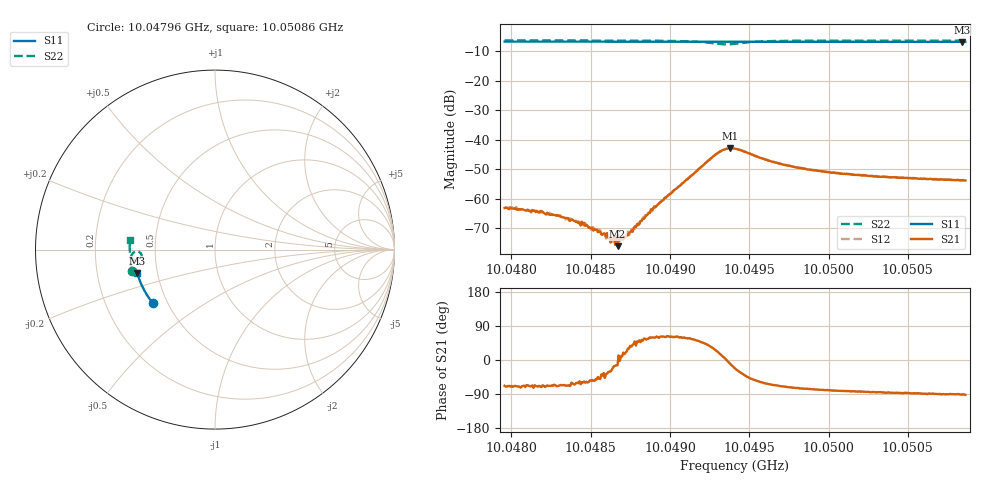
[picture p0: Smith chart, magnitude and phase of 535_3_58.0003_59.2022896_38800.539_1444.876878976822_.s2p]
#  HZ  S  RI  R  50.00
! Rohde & Schwarz Vector Network Analyzer
! Rohde-Schwarz,ZNB20-2Port,1311601062101988,3.16
! Created: UTC 3/21/2024, 1:14:16 AM
! freq[Hz]  re:S11  im:S11  re:S21  im:S21  re:S12  im:S12  re:S22  im:S22
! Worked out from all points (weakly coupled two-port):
!   401 points, 10.04796 GHz to 10.05086 GHz, reference 50 ohm
!   highest |S21| = -42.94 dB at 10.04938 GHz (marker M1); lowest = -76.1 dB at 10.04867 GHz (marker M2)
!   lowest |S11| = -6.9 dB at 10.05084 GHz (marker M3), VSWR 2.65, Z = 19.2 - j6.39 ohm
!   |S11| at or under -10 dB: nowhere
!   |S22| runs from -7.7 to -6.4 dB; largest |S21 - S12| = 0.00053
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1.0047958e10  -0.3459 -0.2989  0.000258 -0.000642  0.000273 -0.00066  -0.4622 -0.1213
1.0048176e10  -0.3548 -0.2877  0.000215 -0.000539  0.000265 -0.000529  -0.4655 -0.1063
1.0048256e10  -0.3581 -0.2835  0.000212 -0.000499  0.000256 -0.000473  -0.4664 -0.1008
1.0048336e10  -0.3612 -0.2791  0.000193 -0.000434  0.00021 -0.000402  -0.4674 -0.095
1.0048401e10  -0.3637 -0.2756  0.000179 -0.000375  0.000203 -0.000368  -0.4681 -0.0902
1.0048445e10  -0.3653 -0.2733  0.000214 -0.000346  0.000206 -0.000285  -0.4685 -0.087
1.0048546e10  -0.3691 -0.2678  0.000191 -0.000191  0.000208 -0.000207  -0.4693 -0.0793
1.0048633e10  -0.3724 -0.263  0.000184 -8.95e-05  0.00017 -6.8e-05  -0.4699 -0.0723
1.004867e10  -0.3737 -0.2611  0.000152 -3.78e-05  0.000205 -1.07e-05  -0.4701 -0.0693
1.0048699e10  -0.3746 -0.2594  0.0002 3.29e-05  0.000199 6.41e-05  -0.47 -0.0669
1.004875e10  -0.3766 -0.2566  0.000214 0.000163  0.000212 0.000146  -0.47 -0.0626
1.0048844e10  -0.3799 -0.2515  0.000271 0.000405  0.000263 0.000451  -0.47 -0.0541
1.0048931e10  -0.3828 -0.2463  0.00043 0.000701  0.000335 0.000761  -0.469 -0.0455
1.0049287e10  -0.394 -0.226  0.00499 0.00247  0.00481 0.00275  -0.4241 -0.0122
1.0049338e10  -0.3953 -0.2232  0.00665 0.000896  0.00659 0.00133  -0.4103 -0.0264
1.0049381e10  -0.3966 -0.2208  0.00701 -0.00132  0.00709 -0.000888  -0.4099 -0.0452
1.004941e10  -0.3975 -0.2193  0.00648 -0.00264  0.00673 -0.00218  -0.4164 -0.0552
1.0049679e10  -0.4058 -0.2038  0.00154 -0.00369  0.00174 -0.00363  -0.467 -0.0414
1.0049897e10  -0.4118 -0.1906  0.000674 -0.00297  0.000842 -0.00297  -0.4736 -0.019
1.0050384e10  -0.4235 -0.1609  0.000159 -0.0023  0.000258 -0.00229  -0.4754 0.0199
1.0050841e10  -0.4324 -0.1323  -3.03e-05 -0.00205  7.64e-05 -0.00205  -0.4731 0.0522
1.0050863e10  -0.4329 -0.131  -6.51e-05 -0.00203  6.48e-05 -0.00202  -0.4729 0.0537
